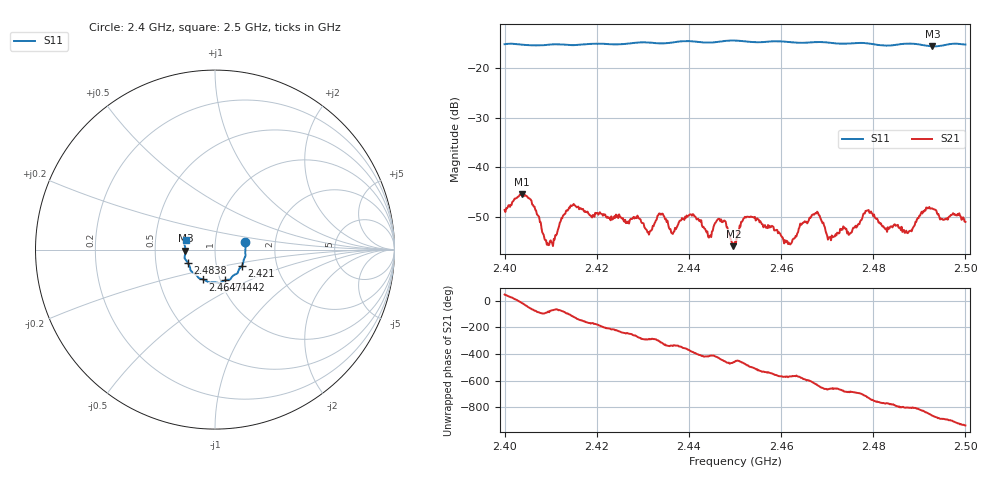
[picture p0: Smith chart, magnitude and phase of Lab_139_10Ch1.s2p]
# Hz S RI R 50
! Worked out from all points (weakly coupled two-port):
!   601 points, 2.4 GHz to 2.5 GHz, reference 50 ohm
!   highest |S21| = -45.47 dB at 2.4037 GHz (marker M1); lowest = -55.9 dB at 2.4497 GHz (marker M2)
!   lowest |S11| = -15.6 dB at 2.4928 GHz (marker M3), VSWR 1.40, Z = 35.8 - j0.401 ohm
!   |S11| at or under -10 dB: start of sweep to end of sweep
!   S12 and S22 are empty: the file has one direction only
!   S11 on the Smith chart (normalised r, x): 2.4 GHz: 1.40, +0.12; 2.421 GHz: 1.33, -0.24; 2.4442 GHz: 1.05, -0.37; 2.4647 GHz: 0.83, -0.28; 2.4838 GHz: 0.73, -0.11; 2.5 GHz: 0.71, +0.08
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2.4e9  0.1689 0.0404  0.00255 0.00271  0 0  0 0
2.403667e9  0.1708 0.0209  0.00513 -0.00144  0 0  0 0
2.409333e9  0.1694 -0.0251  0.000197 -0.0017  0 0  0 0
2.416667e9  0.1581 -0.0684  -0.00325 -0.00195  0 0  0 0
2.421e9  0.1512 -0.0887  -0.00332 0.000743  0 0  0 0
2.431333e9  0.1202 -0.1347  0.000595 0.00201  0 0  0 0
2.433333e9  0.1083 -0.14  0.00154 0.00289  0 0  0 0
2.440667e9  0.0796 -0.1676  0.00298 -0.00132  0 0  0 0
2.444167e9  0.0568 -0.1707  0.00102 -0.00172  0 0  0 0
2.4475e9  0.034 -0.1832  -0.000111 -0.00287  0 0  0 0
2.449667e9  0.0257 -0.1873  -0.000305 -0.00158  0 0  0 0
2.45e9  0.0245 -0.1875  -0.000218 -0.00176  0 0  0 0
2.4525e9  0.0129 -0.1843  -0.00167 -0.00268  0 0  0 0
2.461833e9  -0.0453 -0.1768  -0.00149 0.000792  0 0  0 0
2.464667e9  -0.0671 -0.166  -0.00199 0.00191  0 0  0 0
2.466667e9  -0.0811 -0.1622  -0.00115 0.0031  0 0  0 0
2.470667e9  -0.0954 -0.1519  0.00102 0.00171  0 0  0 0
2.4785e9  -0.1369 -0.1128  0.00364 0.000118  0 0  0 0
2.483333e9  -0.1497 -0.0763  0.00147 -0.00191  0 0  0 0
2.483833e9  -0.1525 -0.0719  0.00143 -0.0021  0 0  0 0
2.492833e9  -0.1649 -0.00544  -0.00314 -0.00223  0 0  0 0
2.5e9  -0.164 0.052  -0.00223 0.00172  0 0  0 0
